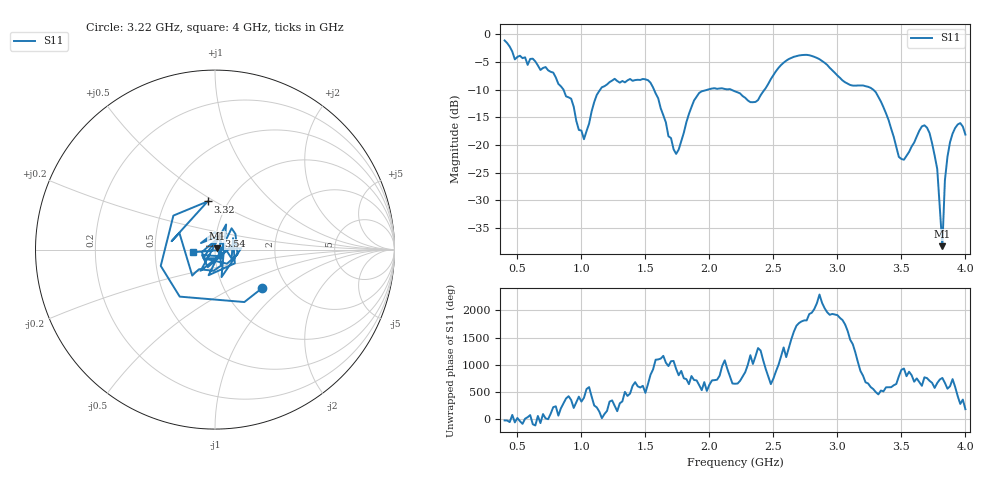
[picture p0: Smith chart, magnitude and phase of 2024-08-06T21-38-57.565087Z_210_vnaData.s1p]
!Created with skrf (http://scikit-rf.org).
# Hz S RI R 50.0
!freq ReS11 ImS11
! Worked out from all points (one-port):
!   181 points, 400 MHz to 4 GHz, reference 50 ohm
!   lowest |S11| = -38.3 dB at 3.82 GHz (marker M1), VSWR 1.02, Z = 50.9 + j0.818 ohm
!   |S11| at or under -10 dB: 859.8 MHz to 1.147 GHz (287.5 MHz wide, 28.6 % of centre); 1.567 GHz to 1.99 GHz (422.7 MHz wide, 23.8 % of centre); 3.279 GHz to end of sweep (the widest 3 of 4)
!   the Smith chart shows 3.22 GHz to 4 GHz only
!   S11 on the Smith chart (normalised r, x): 3.22 GHz: 1.50, -0.73; 3.32 GHz: 0.80, +0.46; 3.54 GHz: 1.04, +0.16; 4 GHz: 0.78, -0.02
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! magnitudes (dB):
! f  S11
! 400 MHz  -1.1
! 480 MHz  -4.6
! 860 MHz  -10.0
! 1.02 GHz  -19.0
! 1.12 GHz  -11.0
! 1.3 GHz  -8.8
! 1.54 GHz  -8.8
! 1.72 GHz  -20.8
! 1.76 GHz  -20.8
! 1.92 GHz  -10.6
! 2.2 GHz  -10.3
! 2.36 GHz  -12.2
! 2.66 GHz  -4.1
! 2.86 GHz  -4.5
! 3.1 GHz  -9.2
! 3.22 GHz  -9.4
! 3.32 GHz  -11.3
! 3.48 GHz  -22.2
! 3.54 GHz  -21.9
! 3.56 GHz  -21.3
! 3.66 GHz  -16.7
! 3.72 GHz  -17.9
! 3.78 GHz  -24.3
! 3.82 GHz  -38.3
! 3.84 GHz  -26.4
! 3.88 GHz  -19.5
! 3.96 GHz  -16.1
! 4 GHz  -18.1
